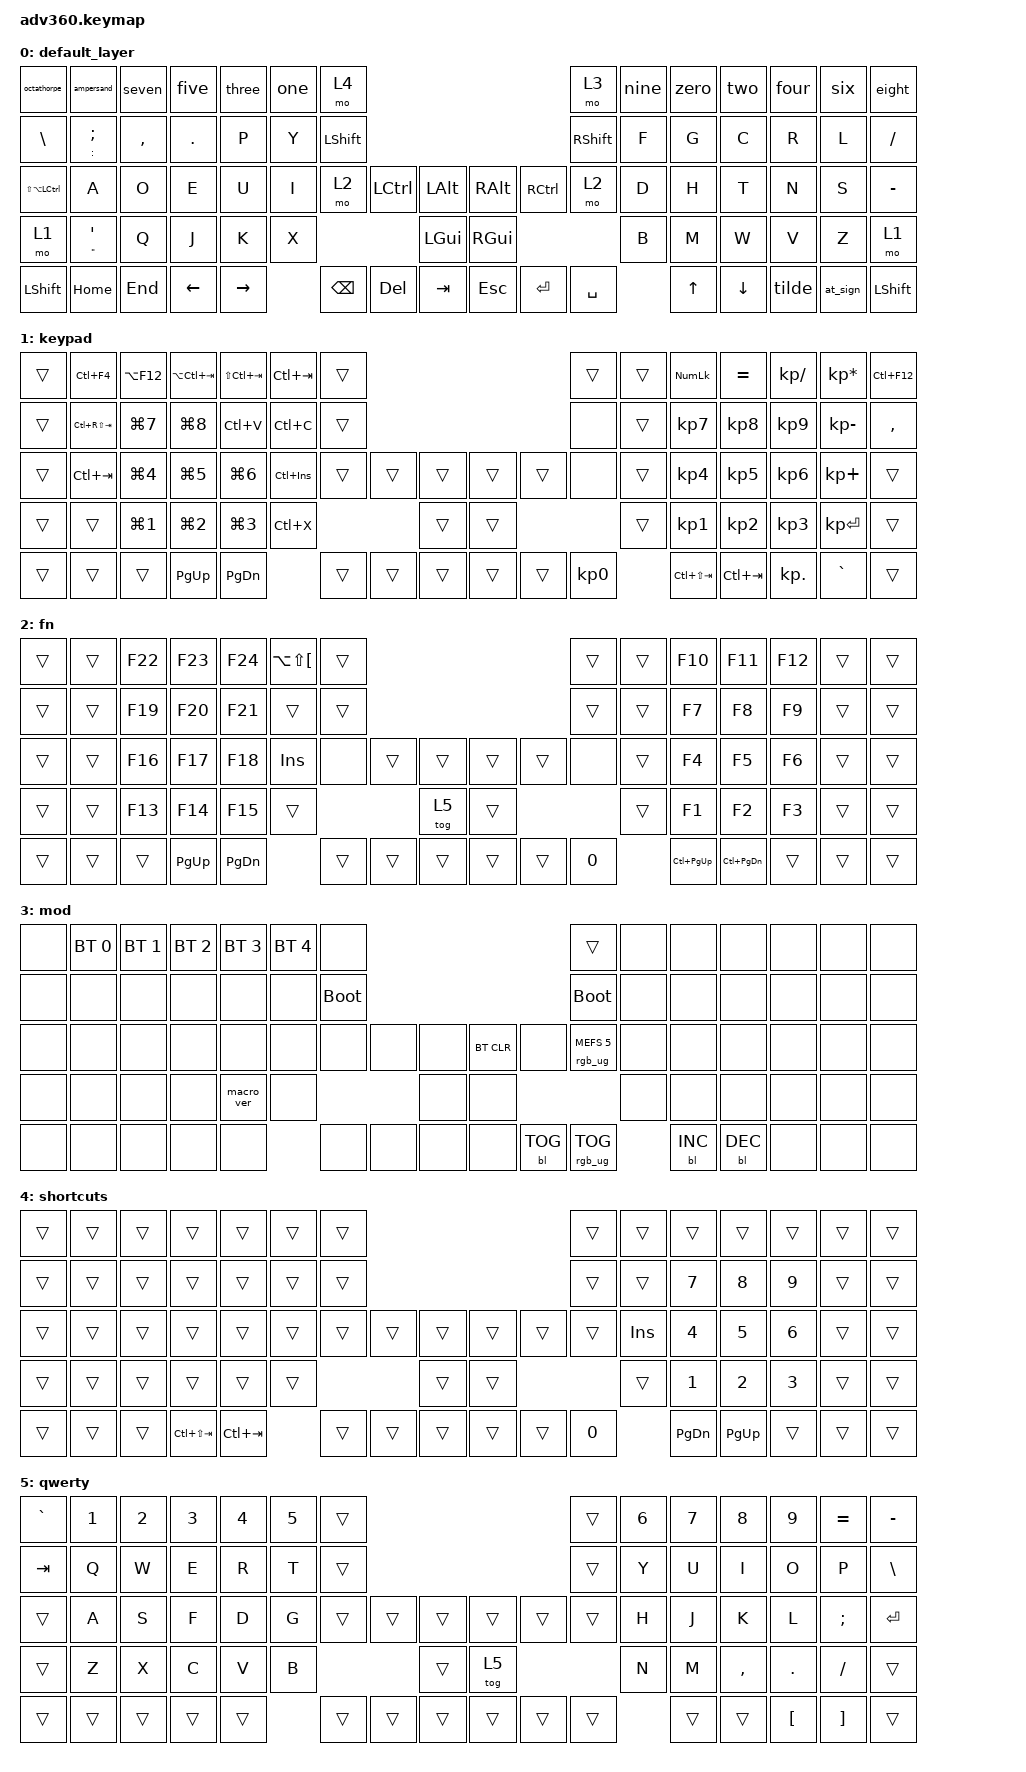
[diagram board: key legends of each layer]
#include <behaviors.dtsi>
#include <dt-bindings/zmk/backlight.h>
#include <dt-bindings/zmk/bt.h>
#include <dt-bindings/zmk/keys.h>
#include <dt-bindings/zmk/rgb.h>

/ {
    behaviors {
        #include "macros.dtsi"
      #include "version.dtsi"
      #ifndef VERSION_MACRO

        macro_ver: macro_ver {
            compatible = "zmk,behavior-macro";
            label = "macro_version";
            #binding-cells = <0>;
            bindings = <&kp RET>;
        };

        #endif

        hm: homerow_mods {
            compatible = "zmk,behavior-hold-tap";
            label = "HOMEROW_MODS";
            #binding-cells = <2>;
            tapping-term-ms = <200>;
            quick_tap_ms = <175>;
            flavor = "tap-preferred";
            bindings = <&kp>, <&kp>;
        };

        page_down: page_down {
            compatible = "zmk,behavior-mod-morph";
            label = "PAGE_DOWN";
            bindings = <&kp PG_DN>, <&kp PG_UP>;

            #binding-cells = <0>;
            mods = <(MOD_LSFT|MOD_RSFT)>;
        };

        at_sign: at_sign {
            compatible = "zmk,behavior-mod-morph";
            label = "AT_SIGN";
            bindings = <&kp AT_SIGN>, <&kp GRAVE>;

            #binding-cells = <0>;
            mods = <(MOD_LSFT|MOD_RSFT)>;
        };

        octathorpe: octathorpe {
            compatible = "zmk,behavior-mod-morph";
            label = "OCTATHORPE";
            bindings = <&kp POUND>, <&kp DOLLAR>;

            #binding-cells = <0>;
            mods = <(MOD_RSFT|MOD_LSFT)>;
        };

        ampersand: ampersand {
            compatible = "zmk,behavior-mod-morph";
            label = "AMPERSAND";
            bindings = <&kp AMPERSAND>, <&kp PERCENT>;

            #binding-cells = <0>;
            mods = <(MOD_LSFT|MOD_RSFT)>;
        };

        tilde: tilde {
            compatible = "zmk,behavior-mod-morph";
            label = "TILDE";
            bindings = <&kp TILDE>, <&kp CARET>;

            #binding-cells = <0>;
            mods = <(MOD_LSFT|MOD_RSFT)>;
        };

        seven: seven {
            compatible = "zmk,behavior-mod-morph";
            label = "SEVEN";
            bindings = <&kp LEFT_BRACKET>, <&kp N7>;

            #binding-cells = <0>;
            mods = <(MOD_LSFT|MOD_RSFT)>;
        };

        five: five {
            compatible = "zmk,behavior-mod-morph";
            label = "FIVE";
            bindings = <&kp LEFT_BRACE>, <&kp N5>;

            #binding-cells = <0>;
            mods = <(MOD_LSFT|MOD_RSFT)>;
        };

        three: three {
            compatible = "zmk,behavior-mod-morph";
            label = "THREE";
            bindings = <&kp RIGHT_BRACE>, <&kp N3>;

            #binding-cells = <0>;
            mods = <(MOD_LSFT|MOD_RSFT)>;
        };

        one: one {
            compatible = "zmk,behavior-mod-morph";
            label = "ONE";
            bindings = <&kp LEFT_PARENTHESIS>, <&kp N1>;

            #binding-cells = <0>;
            mods = <(MOD_LSFT|MOD_RSFT)>;
        };

        nine: nine {
            compatible = "zmk,behavior-mod-morph";
            label = "NINE";
            bindings = <&kp EQUAL>, <&kp N9>;

            #binding-cells = <0>;
            mods = <(MOD_LSFT|MOD_RSFT)>;
        };

        zero: zero {
            compatible = "zmk,behavior-mod-morph";
            label = "ZERO";
            bindings = <&kp ASTERISK>, <&kp N0>;

            #binding-cells = <0>;
            mods = <(MOD_LSFT|MOD_RSFT)>;
        };

        two: two {
            compatible = "zmk,behavior-mod-morph";
            label = "TWO";
            bindings = <&kp RIGHT_PARENTHESIS>, <&kp N2>;

            #binding-cells = <0>;
            mods = <(MOD_LSFT|MOD_RSFT)>;
        };

        four: four {
            compatible = "zmk,behavior-mod-morph";
            label = "FOUR";
            bindings = <&kp PLUS>, <&kp N4>;

            #binding-cells = <0>;
            mods = <(MOD_LSFT|MOD_RSFT)>;
        };

        six: six {
            compatible = "zmk,behavior-mod-morph";
            label = "SIX";
            bindings = <&kp RIGHT_BRACKET>, <&kp NUMBER_6>;

            #binding-cells = <0>;
            mods = <(MOD_LSFT|MOD_RSFT)>;
        };

        eight: eight {
            compatible = "zmk,behavior-mod-morph";
            label = "EIGHT";
            bindings = <&kp EXCLAMATION>, <&kp N8>;

            #binding-cells = <0>;
            mods = <(MOD_LSFT|MOD_RSFT)>;
        };
    };

    macros {
    };

    keymap {
        compatible = "zmk,keymap";

        default_layer {
            bindings = <
&octathorpe        &ampersand      &seven     &five     &three     &one   &mo 4                                                         &mo 3            &nine  &zero   &two      &four   &six      &eight
&kp BACKSLASH      &mt COLON SEMI  &kp COMMA  &kp DOT   &kp P      &kp Y  &kp LEFT_SHIFT                                                &kp RIGHT_SHIFT  &kp F  &kp G   &kp C     &kp R   &kp L     &kp FSLH
&kp LS(LA(LCTRL))  &kp A           &kp O      &kp E     &kp U      &kp I  &mo 2           &kp LCTRL  &kp LALT      &kp RALT  &kp RCTRL  &mo 2            &kp D  &kp H   &kp T     &kp N   &kp S     &kp MINUS
&mo 1              &mt DQT SQT     &kp Q      &kp J     &kp K      &kp X                             &kp LGUI      &kp RGUI                              &kp B  &kp M   &kp W     &kp V   &kp Z     &mo 1
&kp LSHFT          &kp HOME        &kp END    &kp LEFT  &kp RIGHT         &kp BSPC        &kp DEL    &kp TAB       &kp ESC   &kp ENTER  &kp SPACE               &kp UP  &kp DOWN  &tilde  &at_sign  &kp LSHFT
            >;
        };

        keypad {
            bindings = <
&trans  &kp LC(F4)       &kp LA(F12)  &kp LA(LC(TAB))  &kp LS(LC(TAB))  &kp LC(TAB)  &trans                                      &trans     &trans  &kp KP_NUM       &kp EQUAL    &kp KP_DIVIDE  &kp KP_MULTIPLY  &kp LC(F12)
&trans  &kp LC(RS(TAB))  &kp LG(N7)   &kp LG(N8)       &kp LC(V)        &kp LC(C)    &trans                                      &none      &trans  &kp KP_N7        &kp KP_N8    &kp KP_N9      &kp KP_MINUS     &kp COMMA
&trans  &kp LC(TAB)      &kp LG(N4)   &kp LG(N5)       &kp LG(N6)       &kp LC(INS)  &trans  &trans  &trans      &trans  &trans  &none      &trans  &kp KP_N4        &kp KP_N5    &kp KP_N6      &kp KP_PLUS      &trans
&trans  &trans           &kp LG(N1)   &kp LG(N2)       &kp LG(N3)       &kp LC(X)                    &trans      &trans                     &trans  &kp KP_N1        &kp KP_N2    &kp KP_N3      &kp KP_ENTER     &trans
&trans  &trans           &trans       &kp PAGE_UP      &kp PAGE_DOWN                 &trans  &trans  &trans      &trans  &trans  &kp KP_N0          &kp LC(LS(TAB))  &kp LC(TAB)  &kp KP_DOT     &kp GRAVE        &trans
            >;
        };

        fn {
            bindings = <
&trans  &trans  &kp F22  &kp F23    &kp F24    &kp LA(LS(LEFT_BRACKET))  &trans                                      &trans  &trans  &kp F10        &kp F11        &kp F12  &trans  &trans
&trans  &trans  &kp F19  &kp F20    &kp F21    &trans                    &trans                                      &trans  &trans  &kp F7         &kp F8         &kp F9   &trans  &trans
&trans  &trans  &kp F16  &kp F17    &kp F18    &kp INSERT                &none   &trans  &trans      &trans  &trans  &none   &trans  &kp F4         &kp F5         &kp F6   &trans  &trans
&trans  &trans  &kp F13  &kp F14    &kp F15    &trans                                    &tog 5      &trans                  &trans  &kp F1         &kp F2         &kp F3   &trans  &trans
&trans  &trans  &trans   &kp PG_UP  &kp PG_DN                            &trans  &trans  &trans      &trans  &trans  &kp N0          &kp LC(PG_UP)  &kp LC(PG_DN)  &trans   &trans  &trans
            >;
        };

        mod {
            bindings = <
&none  &bt BT_SEL 0  &bt BT_SEL 1  &bt BT_SEL 2  &bt BT_SEL 3  &bt BT_SEL 4  &none                                                  &trans                  &none  &none       &none       &none  &none  &none
&none  &none         &none         &none         &none         &none         &bootloader                                            &bootloader             &none  &none       &none       &none  &none  &none
&none  &none         &none         &none         &none         &none         &none        &none  &none      &bt BT_CLR  &none       &rgb_ug RGB_MEFS_CMD 5  &none  &none       &none       &none  &none  &none
&none  &none         &none         &none         &macro_ver    &none                             &none      &none                                           &none  &none       &none       &none  &none  &none
&none  &none         &none         &none         &none                       &none        &none  &none      &none       &bl BL_TOG  &rgb_ug RGB_TOG                &bl BL_INC  &bl BL_DEC  &none  &none  &none
            >;
        };

        shortcuts {
            bindings = <
&trans  &trans  &trans  &trans           &trans       &trans  &trans                                      &trans  &trans      &trans     &trans     &trans  &trans  &trans
&trans  &trans  &trans  &trans           &trans       &trans  &trans                                      &trans  &trans      &kp N7     &kp N8     &kp N9  &trans  &trans
&trans  &trans  &trans  &trans           &trans       &trans  &trans  &trans  &trans      &trans  &trans  &trans  &kp INSERT  &kp N4     &kp N5     &kp N6  &trans  &trans
&trans  &trans  &trans  &trans           &trans       &trans                  &trans      &trans                  &trans      &kp N1     &kp N2     &kp N3  &trans  &trans
&trans  &trans  &trans  &kp LC(LS(TAB))  &kp LC(TAB)          &trans  &trans  &trans      &trans  &trans  &kp N0              &kp PG_DN  &kp PG_UP  &trans  &trans  &trans
            >;
        };

        qwerty {
            bindings = <
&kp GRAVE  &kp N1  &kp N2  &kp N3  &kp N4  &kp N5  &trans                                      &trans  &kp NUMBER_6  &kp N7  &kp N8     &kp N9    &kp EQUAL  &kp MINUS
&kp TAB    &kp Q   &kp W   &kp E   &kp R   &kp T   &trans                                      &trans  &kp Y         &kp U   &kp I      &kp O     &kp P      &kp BSLH
&trans     &kp A   &kp S   &kp F   &kp D   &kp G   &trans  &trans  &trans      &trans  &trans  &trans  &kp H         &kp J   &kp K      &kp L     &kp SEMI   &kp ENTER
&trans     &kp Z   &kp X   &kp C   &kp V   &kp B                   &trans      &tog 5                  &kp N         &kp M   &kp COMMA  &kp DOT   &kp FSLH   &trans
&trans     &trans  &trans  &trans  &trans          &trans  &trans  &trans      &trans  &trans  &trans                &trans  &trans     &kp LBKT  &kp RBKT   &trans
            >;
        };
    };
};
